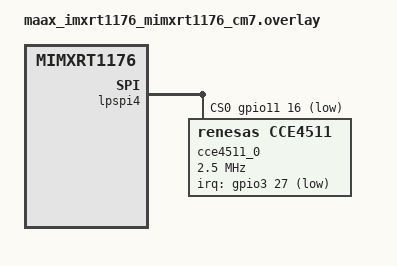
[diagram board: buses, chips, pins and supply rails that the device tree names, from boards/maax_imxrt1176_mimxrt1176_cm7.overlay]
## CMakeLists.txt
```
cmake_minimum_required(VERSION 3.20.0)

find_package(Zephyr REQUIRED HINTS $ENV{ZEPHYR_BASE})

project(myapp)

target_sources(app PRIVATE 
	src/main.c
	src/app_handler.c
)
```

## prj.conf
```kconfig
CONFIG_SPI=y
CONFIG_GPIO=y
CONFIG_IOL_MASTER=y
CONFIG_IOL_MASTER_NUM_CHANNELS=1
CONFIG_IOL_MASTER_STACK_SIZE=4096
CONFIG_IOL_MASTER_TASK_PRIORITY=4
CONFIG_IOL_DL_STACK_SIZE=2048
CONFIG_IOL_DL_TASK_PRIORITY=5
CONFIG_HEAP_MEM_POOL_SIZE=65536
CONFIG_EVENTS=y
CONFIG_MULTITHREADING=y
CONFIG_KERNEL_MEM_POOL=y

CONFIG_LOG=y
CONFIG_LOG_MODE_IMMEDIATE=y
CONFIG_LOG_DEFAULT_LEVEL=3
```

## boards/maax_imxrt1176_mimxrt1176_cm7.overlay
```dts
#include <zephyr/dt-bindings/gpio/gpio.h>


&pinctrl {

	pinmux_csi: pinmux_csi {
		group0 {
			pinmux = <&iomuxc_gpio_ad_24_lpuart1_tx>,
				<&iomuxc_gpio_ad_25_lpuart1_rx>,
				<&iomuxc_gpio_disp_b2_12_lpspi4_sck>,
				<&iomuxc_gpio_disp_b2_13_lpspi4_sdi>,
				<&iomuxc_gpio_disp_b2_14_lpspi4_sdo>;
			drive-strength = "high";
			bias-pull-down;
			slew-rate = "fast";
		};
		group1 {
			pinmux = <&iomuxc_gpio_ad_28_gpio_mux3_io27>,
				<&iomuxc_gpio_disp_b2_15_lpspi4_pcs0>;
			drive-strength = "high";
			bias-pull-up;
			slew-rate = "fast";
		};
	};
};

&lpspi4 {
    status = "okay";

    pinctrl-0 = <&pinmux_csi>;
    pinctrl-names = "default";

    cs-gpios = <&gpio11 16 GPIO_ACTIVE_LOW>;

    pcs-sck-delay = <200>;
    sck-pcs-delay = <200>;
    transfer-delay = <200>;

    cce4511_0: cce4511@0 {
        compatible = "renesas,cce4511";
        reg = <0>;
        spi-max-frequency = <2500000>;

        irq-gpios = <&gpio3 27 GPIO_ACTIVE_LOW>;
    };
};
```

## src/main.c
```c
/**
 ******************************************************************************
 * @file    main.c
 * @author  Sanjana S, Calixto Firmware Team
 * @version V2.1.0
 * @date    17-Apr-2026
 * @brief   IO-Link Master - Zephyr entry point.
******************************************************************************
 */

/* Includes ------------------------------------------------------------------*/
#include <zephyr/kernel.h>
#include <zephyr/drivers/spi.h>
#include <zephyr/drivers/gpio.h>
#include <zephyr/logging/log.h>
#include <zephyr/version.h>

#include <iol_cce4511_pl.h>   
#include <iol_cce4511.h>      
#include <osal_spi.h>         
#include <iol_log.h>         
#include <cce4511_conf.h>   

#include "app_handler.h"      

LOG_MODULE_REGISTER(iol_main, CONFIG_IOL_MASTER_LOG_LEVEL);

#define CCE4511_NODE   DT_NODELABEL(cce4511_0)

static const struct spi_dt_spec cce4511_spi =
    SPI_DT_SPEC_GET(CCE4511_NODE, CCE4511_SPI_OPERATION, 0);

static const struct gpio_dt_spec cce4511_irq_gpio =
    GPIO_DT_SPEC_GET(CCE4511_NODE, irq_gpios);

#define APP_MASTER_THREAD_STACK_SIZE  (4 * 1024)
#define APP_MASTER_THREAD_PRIO        3
#define APP_DL_THREAD_STACK_SIZE      4096
#define APP_DL_THREAD_PRIO            (APP_MASTER_THREAD_PRIO + 1)

K_THREAD_STACK_DEFINE(iolink_task_stack, APP_MASTER_THREAD_STACK_SIZE);
static struct k_thread iolink_task_tcb;

static iolink_pl_mode_t mode_ch[IOLINK_NUM_PORTS] = {
    iolink_mode_SDCI,      /* port 0 - active IO-Link port   */
    iolink_mode_INACTIVE,  /* port 1 - unused                */
};

static iolink_port_cfg_t port_cfgs[IOLINK_NUM_PORTS];
static iolink_m_cfg_t    app_cfg;

static struct gpio_callback cce4511_gpio_cb;

static void gpio_isr_handler(const struct device *port,
                              struct gpio_callback *cb,
                              gpio_port_pins_t pins)
{
    ARG_UNUSED(port);
    ARG_UNUSED(cb);
    ARG_UNUSED(pins);

    if (g_iolink_drv != NULL) {
        iolink_cce4511_isr((void *)g_iolink_drv, 0);
    } else {
        LOG_WRN("[GPIO ISR] g_iolink_drv is NULL - IRQ before driver init?");
    }
}

static int board_hw_init(void)
{
    if (!spi_is_ready_dt(&cce4511_spi)) {
        LOG_ERR("CCE4511 SPI bus not ready - check DTS overlay");
        return -ENODEV;
    }
                                              
    iol_spi_set_device(&cce4511_spi);

    if (!gpio_is_ready_dt(&cce4511_irq_gpio)) {
        LOG_ERR("CCE4511 IRQ GPIO not ready - check DTS irq-gpios property");
        return -ENODEV;
    }

    int rc = gpio_pin_configure_dt(&cce4511_irq_gpio, GPIO_INPUT);
    if (rc != 0) {
        LOG_ERR("gpio_pin_configure_dt(IRQ) failed: %d", rc);
        return rc;
    }

    rc = gpio_pin_interrupt_configure_dt(&cce4511_irq_gpio,
                                         GPIO_INT_EDGE_FALLING);
    if (rc != 0) {
        LOG_ERR("gpio_pin_interrupt_configure_dt failed: %d", rc);
        return rc;
    }

    gpio_init_callback(&cce4511_gpio_cb,
                       gpio_isr_handler,
                       BIT(cce4511_irq_gpio.pin));

    rc = gpio_add_callback(cce4511_irq_gpio.port, &cce4511_gpio_cb);
    if (rc != 0) {
        LOG_ERR("gpio_add_callback failed: %d", rc);
        return rc;
    }

    LOG_INF("CCE4511 hardware initialised - IRQ GPIO pin %d",
            cce4511_irq_gpio.pin);
    return 0;
}

/* ---------------------------------------------------------------------------
 * IO-Link application thread
 * ---------------------------------------------------------------------------*/
static void iolink_task(void *p1, void *p2, void *p3)
{
    ARG_UNUSED(p1);
    ARG_UNUSED(p2);
    ARG_UNUSED(p3);

    k_msleep(200);

    port_cfgs[0].mode     = &mode_ch[0];
    port_cfgs[0].arg      = (void *)0;
    port_cfgs[0].cyc_time = 0xBF;

    port_cfgs[1].mode     = &mode_ch[1];
    port_cfgs[1].arg      = (void *)1;
    port_cfgs[1].cyc_time = 0;

    app_cfg.port_cnt                 = 1;
    app_cfg.port_cfgs                = port_cfgs;
    app_cfg.master_thread_prio       = APP_MASTER_THREAD_PRIO;
    app_cfg.master_thread_stack_size = APP_MASTER_THREAD_STACK_SIZE;
    app_cfg.dl_thread_prio           = APP_DL_THREAD_PRIO;
    app_cfg.dl_thread_stack_size     = APP_DL_THREAD_STACK_SIZE;
    app_cfg.cb_arg                   = NULL;
    app_cfg.user_cb                  = NULL;

    app_handler(app_cfg);
}

/* ---------------------------------------------------------------------------
 * main()
 * ---------------------------------------------------------------------------*/
int main(void)
{
    LOG_INF("IO-Link Master starting (Zephyr %s)", KERNEL_VERSION_STRING);

    int rc = board_hw_init();
    if (rc != 0) {
        LOG_ERR("board_hw_init() failed (%d) - halting", rc);
        while (1) {
            k_sleep(K_SECONDS(1));
        }
    }

    k_thread_create(&iolink_task_tcb,
                    iolink_task_stack,
                    K_THREAD_STACK_SIZEOF(iolink_task_stack),
                    iolink_task,
                    NULL, NULL, NULL,
                    APP_MASTER_THREAD_PRIO,
                    0,
                    K_NO_WAIT);

    k_thread_name_set(&iolink_task_tcb, "iolink_app");

    return 0;
}
```

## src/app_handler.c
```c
/**
 ******************************************************************************
 * @file    app_handler.c
 * @author  Sanjana S, Calixto Firmware Team
 * @version V2.0.0
 * @date    30-Mar-2026
 * @brief   IO-Link application handler — implementation.
 * <h2><center>&copy; COPYRIGHT 2026 Calixto Systems Pvt Ltd</center></h2>
 ******************************************************************************
 */

/* Includes ------------------------------------------------------------------*/
#include <stdint.h>
#include <stdbool.h>
#include <string.h>

#include <zephyr/kernel.h>

#include <iol_log.h>   
#include <iol.h>       
#include <iol_main.h>  
#include <iol_mw.h>    
#include <iol_api.h>   
#include <osal.h>     

#include "app_handler.h"

#define APP_PD_EVENT       BIT(0)
#define APP_OPERATE_EVENT  BIT(4)
#define APP_COMLOST_EVENT  BIT(8)
#define APP_EVENTS_EVENT   BIT(12)

#define APP_ALL_EVENTS     0xFFFFFFFFu

static app_master_ctx_t app_master;

static bool device_ident_read[IOLINK_NUM_PORTS];

static void read_device_parameters(app_port_ctx_t *app_port)
{
    uint8_t        data[64];
    uint8_t        len;
    iolink_error_t err;

    for (uint16_t index = 17U; index <= 26U; index++)
    {
        memset(data, 0, sizeof(data));
        len = sizeof(data);

        err = Master_readParameter((uint8_t)(app_port->portnumber + 1U),
                                   index, 0U, data, &len);
        if (err == IOLINK_ERROR_NONE)
        {
            printk("\r\nIndex 0x%X : ", index);
            for (uint8_t i = 0U; i < len; i++)
            {
                printk("%c", data[i]);
            }
            printk("\r\n\n");
        }
        else
        {
            printk("Index 0x%X read failed: %d\r\n", index, (int)err);
            break;
        }
        
        os_usleep(50000U);
    }

    memset(data, 0, sizeof(data));
    data[0] = 0x00U;   /* 0 = mm, 1 = inch */

    err = Master_writeParameter((uint8_t)(app_port->portnumber + 1U),
                                0x0114U, 0U, data, 1U);
    if (err != IOLINK_ERROR_NONE)
    {
        printk("Index 0x0114 (Measurement Unit) write failed, err=0x%04X\r\n",
               (unsigned int)err);
        return;
    }
    printk("Index 0x0114 (Measurement Unit) write OK\r\n");

    os_usleep(50000U);

    memset(data, 0, sizeof(data));
    len = sizeof(data);

    err = Master_readParameter((uint8_t)(app_port->portnumber + 1U),
                               0x0114U, 0U, data, &len);
    if (err != IOLINK_ERROR_NONE)
    {
        printk("Index 0x0114 read back failed, err=0x%04X\r\n",
               (unsigned int)err);
        return;
    }
    printk("Index 0x0114 (Measurement Unit) readback: %s\r\n",
           (data[0] == 0U) ? "Millimeter" : "Inch");
}

static void app_user_cb(
    uint8_t          portnumber,
    void            *arg,
    IOL_data_ind     data_type,
    uint8_t          data_len,
    const uint8_t   *inputdata)
{
    uint8_t            port_index = (uint8_t)(portnumber - 1U);
    app_master_ctx_t  *app_m      = (app_master_ctx_t *)arg;
    app_port_ctx_t    *app_port   = &app_m->app_port[port_index];

    /* Guard against out-of-range port numbers. */
    if (port_index >= IOLINK_NUM_PORTS)
    {
        IOL_LOG_ERR("app_user_cb: invalid portnumber %u", portnumber);
        return;
    }

    switch (data_type)
    {
        case PD_DATA_IND:
            if (data_len != 0U && inputdata != NULL)
            {
                memcpy(app_port->pdin.data, inputdata, data_len);
                app_port->pdin.data_len = data_len;
                os_event_set(app_m->app_event,
                             APP_PD_EVENT << port_index);
            }
            break;

        case PORT_OPERATE_IND:
            device_ident_read[port_index] = false;
            os_event_set(app_m->app_event,
                         APP_OPERATE_EVENT << port_index);
            break;

        case PORT_COMLOST_IND:
            IOL_LOG_WRN("port (%u): COMLOST — device disconnected", portnumber);
            device_ident_read[port_index] = false;
            os_event_set(app_m->app_event,
                         APP_COMLOST_EVENT << port_index);
            break;

        case EVENT_DATA_IND:
            os_event_set(app_m->app_event,
                         APP_EVENTS_EVENT << port_index);
            break;

        default:
            IOL_LOG_WRN("app_user_cb: unknown data_type %d", (int)data_type);
            break;
    }
}

void app_handler(iolink_m_cfg_t m_cfg)
{
    uint8_t port_index;

    memset(&app_master, 0, sizeof(app_master));
    memset(device_ident_read, 0, sizeof(device_ident_read));

    for (port_index = 0U; port_index < m_cfg.port_cnt; port_index++)
    {
        app_master.app_port[port_index].portnumber = port_index;
    }

    app_master.app_event = os_event_create();
    CC_ASSERT(app_master.app_event != NULL);

    m_cfg.cb_arg   = &app_master;
    m_cfg.user_cb  = app_user_cb;

    iolink_m_t *master = Master_init(&m_cfg);
    if (master == NULL)
    {
        IOL_LOG_ERR("%s: Master_init() failed!", __func__);
        CC_ASSERT(0);
    }
    app_master.master = master;

    for (port_index = 0U; port_index < m_cfg.port_cnt; port_index++)
    {
        iolink_error_t err = Master_ConfigPDFilter(
            (uint8_t)(port_index + 1U), 0U, 2U);
        if (err != IOLINK_ERROR_NONE)
        {
            IOL_LOG_WRN("Port %u: Master_ConfigPDFilter failed (%d)",
                        (unsigned)(port_index + 1U), (int)err);
        }

        err = Master_setPortMode((uint8_t)(port_index + 1U), PORT_ACTIVE);
        if (err != IOLINK_ERROR_NONE)
        {
            IOL_LOG_WRN("Port %u: Master_setPortMode(ACTIVE) failed (%d)",
                        (unsigned)(port_index + 1U), (int)err);
        }
    }

    IOL_LOG_INF("app_handler: master started, %u port(s) active",
                (unsigned)m_cfg.port_cnt);

    while (1)
    {
        uint32_t event_value = 0U;

        if (!os_event_wait(app_master.app_event,
                           APP_ALL_EVENTS, &event_value, 1000U))
        {
            os_event_clr(app_master.app_event, event_value);

            for (port_index = 0U; port_index < m_cfg.port_cnt; port_index++)
            {
                app_port_ctx_t *app_port = &app_master.app_port[port_index];

                if ((event_value & (APP_OPERATE_EVENT << port_index)) != 0U)
                {
                    IOL_LOG_INF("Port %u: OPERATE — reading device parameters",
                                (unsigned)(port_index + 1U));

                    read_device_parameters(app_port);
                    device_ident_read[port_index] = true;

                    uint8_t        pd_out[1] = {0x00U};
                    iolink_error_t pd_err    = Master_PDout(
                        (uint8_t)(port_index + 1U),
                        true,          /* pd_valid = output is valid         */
                        pd_out,
                        sizeof(pd_out));
                    if (pd_err != IOLINK_ERROR_NONE)
                    {
                        IOL_LOG_ERR("Port %u: Master_PDout failed: %d",
                                    (unsigned)(port_index + 1U), (int)pd_err);
                    }
                }

                if ((event_value & (APP_COMLOST_EVENT << port_index)) != 0U)
                {
                    IOL_LOG_WRN("Port %u: COMLOST — device disconnected, "
                                "waiting for reconnect",
                                (unsigned)(port_index + 1U));
                }

                if ((event_value & (APP_PD_EVENT << port_index)) != 0U)
                {

                    static uint32_t pd_counter[IOLINK_NUM_PORTS];

                    pd_counter[port_index]++;
                    if ((pd_counter[port_index] % 250U) == 0U)
                    {
                        printk("Port %u PD Data (%u bytes): ",
                                    (unsigned)(port_index + 1U),
                                    (unsigned)app_port->pdin.data_len);

                        for (uint8_t i = 0U; i < app_port->pdin.data_len; i++)
                        {
                            printk("%d ", app_port->pdin.data[i]);
                        }
                        printk("\r\n");
                    }
                }
            } 
        }

    } 
}
```

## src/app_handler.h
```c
/**
 ******************************************************************************
 * @file    app_handler.h
 * @author  Sanjana S, Calixto Firmware Team
 * @version V2.0.0
 * @date    30-Mar-2026
 * @brief   IO-Link application handler — public types and API.
 *          Zephyr port: all FreeRTOS / NXP-SDK dependencies removed.
 *          Uses only the OSAL abstraction layer (osal.h) and the
 *          IO-Link stack public headers.
 *
 * <h2><center>&copy; COPYRIGHT 2026 Calixto Systems Pvt Ltd</center></h2>
 ******************************************************************************
 */

#ifndef APP_HANDLER_H
#define APP_HANDLER_H

#ifdef __cplusplus
extern "C" {
#endif

/* Includes ------------------------------------------------------------------*/
#include <stdint.h>
#include <stdbool.h>

#include <iol.h>       /* iolink_m_cfg_t, iolink_m_t, IOLINK_PD_MAX_SIZE    */
#include <iol_api.h>   /* Master_init(), Master_setPortMode(), PortMode       */
#include <osal.h>      /* os_event_t                                          */

/* ---------------------------------------------------------------------------
 * Configuration constants
 * ---------------------------------------------------------------------------*/

/** Maximum number of device events stored per port. */
#define PORT_EVENT_COUNT  10

/* ---------------------------------------------------------------------------
 * Types
 * ---------------------------------------------------------------------------*/

/**
 * @brief Per-port application context.
 *
 * Holds the latest process-data snapshot and a small event/diagnostic ring
 * that the middleware fills via app_user_cb().
 */
typedef struct app_port_ctx
{
    /** 1-based port number (matches the IO-Link stack convention). */
    uint8_t portnumber;

    /** Diagnostic / event log received from the device. */
    struct
    {
        uint8_t              count;
        diag_entry_t         diag_entry[PORT_EVENT_COUNT];
        iolink_eventcode_t   eventcode[PORT_EVENT_COUNT];
    } events;

    /** Latest PDIn snapshot copied inside app_user_cb(). */
    struct
    {
        uint8_t data[IOLINK_PD_MAX_SIZE];
        uint8_t data_len;
    } pdin;

} app_port_ctx_t;

/**
 * @brief Master-level application context.
 *
 * One instance is held as a file-scope variable inside app_handler.c.
 * It groups the master handle, all port contexts, and the shared event
 * object used to wake the application loop.
 */
typedef struct app_master_ctx
{
    /** Handle returned by Master_init(). */
    iolink_m_t     *master;

    /** Per-port contexts, indexed 0 … (IOLINK_NUM_PORTS - 1). */
    app_port_ctx_t  app_port[IOLINK_NUM_PORTS];

    /** OSAL event object — bits are set by app_user_cb() to wake the loop. */
    os_event_t     *app_event;

} app_master_ctx_t;

/* ---------------------------------------------------------------------------
 * Public API
 * ---------------------------------------------------------------------------*/

/**
 * @brief Application entry point for the IO-Link master.
 *
 * Initialises the master stack, activates ports, then enters the event
 * loop.  This function never returns.
 *
 * @param m_cfg   Master configuration (port count, thread priorities, etc.).
 *                The cb_arg and user_cb fields are overwritten inside this
 *                function before Master_init() is called.
 */
void app_handler(iolink_m_cfg_t m_cfg);

#ifdef __cplusplus
}
#endif

#endif /* APP_HANDLER_H */
```
